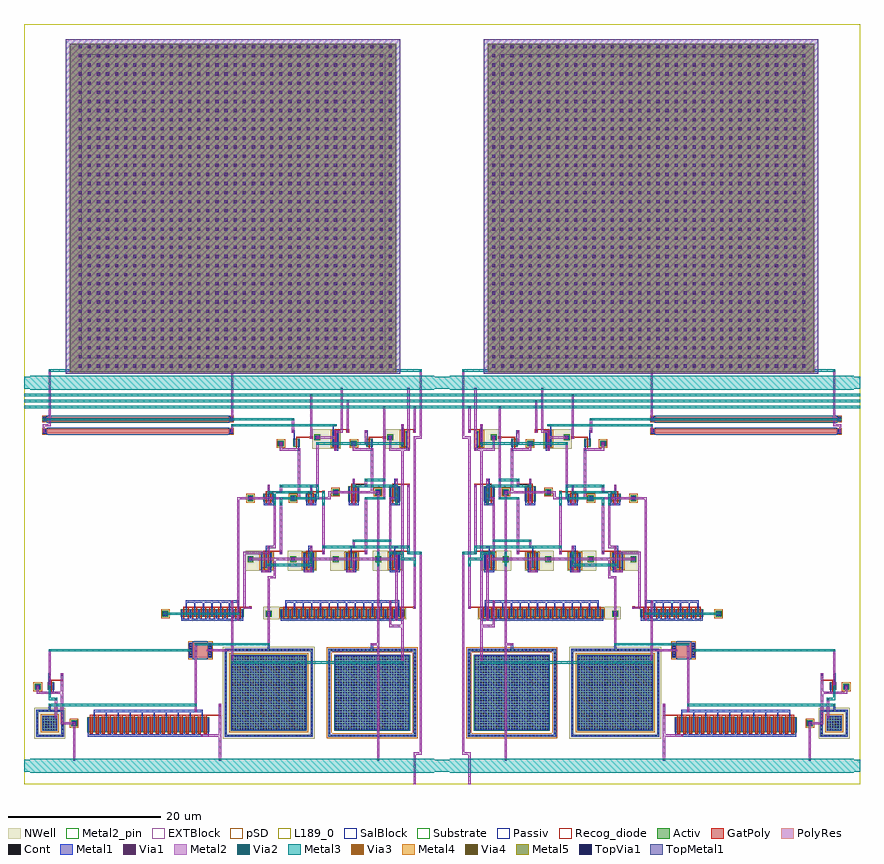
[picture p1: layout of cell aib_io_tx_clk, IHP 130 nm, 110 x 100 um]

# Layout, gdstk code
from math import pi, radians
import gdstk
lib = gdstk.Library(unit=1e-6, precision=1e-09)
def R(c, l, rs):  # rectangles x0, y0, x1, y1
    for r in rs: c.add(gdstk.rectangle(r[:2], r[2:], *l))
def A(c, l, x, y, w, h, nx, ny, dx, dy):  # array of equal rectangles
    R(c, l, [(x+i*dx, y+j*dy, x+i*dx+w, y+j*dy+h) for i in range(nx) for j in range(ny)])
Activ = (1, 0)
GatPoly = (5, 0)
Cont = (6, 0)
Metal1 = (8, 0)
Passiv = (9, 0)
Metal2 = (10, 0)
Metal2_pin = (10, 2)
pSD = (14, 0)
Via1 = (19, 0)
SalBlock = (28, 0)
Via2 = (29, 0)
Metal3 = (30, 0)
NWell = (31, 0)
Substrate = (40, 0)
Via3 = (49, 0)
Metal4 = (50, 0)
Via4 = (66, 0)
Metal5 = (67, 0)
Recog_diode = (99, 31)
EXTBlock = (111, 0)
TopVia1 = (125, 0)
TopMetal1 = (126, 0)
PolyRes = (128, 0)
L189_0 = (189, 0)

aib_io_tx = lib.new_cell('aib_io_tx')
A(aib_io_tx, Activ, 11.21, 28.4, 1.44, 2, 3, 1, 5.6, 0)
A(aib_io_tx, Activ, 8.01, 29.21, 0.78, 0.78, 4, 1, 5.6, 0)
R(aib_io_tx, Activ, [(3.4,6.2,15,6.5), (17,6.2,28.6,6.5), (49.8,6.2,53.4,6.5), (3.4,6.5,3.7,17.5), (14.7,6.5,15,17.5), (17,6.5,17.3,17.5), (28.3,6.5,28.6,17.5), (49.8,6.5,50.1,9.5), (53.1,6.5,53.4,9.5), (30.6,6.8,46.7,8.8), (4.2,7,14.2,17), (17.8,7,27.8,17), (50.6,7,52.6,9), (48.01,7.61,48.79,8.39), (49.8,9.5,53.4,9.8), (51,12.4,51.87,13.4), (52.81,12.41,53.59,13.19), (3.4,17.5,15,17.8), (17,17.5,28.6,17.8), (5,22,21.26,23), (26.11,22,34.39,23), (22.41,22.01,23.19,22.79), (36.01,22.01,36.79,22.79), (5.5,28.4,6.94,30.4), (5.5,37.2,6.94,39.2), (10.9,37.2,12.34,39.2), (16.5,37.2,17.94,38.2), (22.1,37.2,23.54,38.2), (19.21,37.21,19.99,37.99), (24.81,37.21,25.59,37.99), (8.01,38.01,8.79,38.79), (13.61,38.01,14.39,38.79), (4.5,44.4,5.37,46.4), (9.11,44.4,9.98,45.4), (13.6,44.4,14.47,46.4), (18.71,44.4,19.58,45.4), (11.21,44.41,11.99,45.19), (20.81,44.41,21.59,45.19), (6.41,45.21,7.19,45.99), (16.01,45.21,16.79,45.99)])
A(aib_io_tx, GatPoly, 30.97, 6.62, 0.35, 2.49, 20, 1, 0.79, 0)
A(aib_io_tx, GatPoly, 5.37, 21.82, 0.13, 1.49, 28, 1, 0.57, 0)
A(aib_io_tx, GatPoly, 26.48, 21.82, 0.13, 1.49, 14, 1, 0.57, 0)
A(aib_io_tx, GatPoly, 4.23, 30.23, 0.34, 0.34, 4, 1, 5.6, 0)
A(aib_io_tx, GatPoly, 4.23, 30.4, 0.34, 0.245, 4, 1, 5.6, 0)
A(aib_io_tx, GatPoly, 9.935, 30.58, 1.646, 0.13, 3, 1, 5.6, 0)
A(aib_io_tx, GatPoly, 11.58, 30.58, 0.7, 0.13, 3, 1, 5.6, 0)
R(aib_io_tx, GatPoly, [(29.135,8.98,30.971,9.11), (30.97,8.98,46.33,9.11), (29.03,9.045,29.37,10.4), (29.03,10.23,29.37,10.57), (51.37,12.22,51.5,13.71), (49.935,13.58,51.371,13.71), (51.37,13.58,51.5,13.71), (49.83,13.645,50.17,14.4), (49.83,14.23,50.17,14.57), (30.37,16.6,33.23,18.6), (3.43,23.03,3.77,23.37), (25.03,23.03,25.37,23.37), (3.535,23.18,5.371,23.31), (5.37,23.18,20.89,23.31), (25.135,23.18,26.481,23.31), (26.48,23.18,34.02,23.31), (3.43,23.2,3.77,23.245), (25.03,23.2,25.37,23.245), (5.87,28.22,6,30.71), (6.44,28.22,6.57,30.71), (11.58,28.22,11.71,30.71), (12.15,28.22,12.28,30.71), (17.18,28.22,17.31,30.71), (17.75,28.22,17.88,30.71), (22.78,28.22,22.91,30.71), (23.35,28.22,23.48,30.71), (4.335,30.58,5.871,30.71), (5.87,30.58,6.57,30.71), (5.87,37.02,6,39.51), (6.44,37.02,6.57,39.51), (11.27,37.02,11.4,39.51), (11.84,37.02,11.97,39.51), (16.87,37.02,17,38.51), (17.44,37.02,17.57,38.51), (22.47,37.02,22.6,38.51), (23.04,37.02,23.17,38.51), (15.43,38.23,15.77,38.57), (21.03,38.23,21.37,38.57), (15.535,38.38,16.871,38.51), (16.87,38.38,17.57,38.51), (21.135,38.38,22.471,38.51), (22.47,38.38,23.17,38.51), (15.43,38.4,15.77,38.445), (21.03,38.4,21.37,38.445), (4.23,39.03,4.57,39.37), (9.83,39.03,10.17,39.37), (4.23,39.2,4.57,39.445), (9.83,39.2,10.17,39.445), (4.335,39.38,5.871,39.51), (5.87,39.38,6.57,39.51), (9.935,39.38,11.271,39.51), (11.27,39.38,11.97,39.51), (4.87,44.22,5,46.71), (9.48,44.22,9.61,45.71), (13.97,44.22,14.1,46.71), (19.08,44.22,19.21,45.71), (7.43,45.43,7.77,45.77), (17.03,45.43,17.37,45.77), (7.535,45.58,9.481,45.71), (9.48,45.58,9.61,45.71), (17.135,45.58,19.081,45.71), (19.08,45.58,19.21,45.71), (7.43,45.6,7.77,45.645), (17.03,45.6,17.37,45.645), (27.57,46.15,52.43,46.65), (3.43,46.23,3.77,46.57), (12.23,46.23,12.57,46.57), (3.43,46.4,3.77,46.645), (12.23,46.4,12.57,46.645), (3.535,46.58,4.871,46.71), (4.87,46.58,5,46.71), (12.335,46.58,13.971,46.71), (13.97,46.58,14.1,46.71), (27.57,47.75,52.43,48.25)])
A(aib_io_tx, Cont, 3.47, 6.27, 0.16, 0.16, 23, 2, 0.5, 11.3)
A(aib_io_tx, Cont, 17.07, 6.27, 0.16, 0.16, 23, 2, 0.5, 11.3)
A(aib_io_tx, Cont, 49.87, 6.27, 0.16, 0.16, 7, 2, 0.5, 3.3)
A(aib_io_tx, Cont, 3.47, 6.61, 0.16, 0.16, 1, 22, 0, 0.5)
A(aib_io_tx, Cont, 14.77, 6.61, 0.16, 0.16, 1, 22, 0, 0.5)
A(aib_io_tx, Cont, 17.07, 6.61, 0.16, 0.16, 1, 22, 0, 0.5)
A(aib_io_tx, Cont, 28.37, 6.61, 0.16, 0.16, 1, 22, 0, 0.5)
A(aib_io_tx, Cont, 49.87, 6.61, 0.16, 0.16, 1, 6, 0, 0.5)
A(aib_io_tx, Cont, 53.17, 6.61, 0.16, 0.16, 1, 6, 0, 0.5)
A(aib_io_tx, Cont, 30.67, 6.87, 0.16, 0.16, 21, 6, 0.79, 0.34)
A(aib_io_tx, Cont, 50.67, 7.07, 0.16, 0.16, 6, 6, 0.34, 0.34)
A(aib_io_tx, Cont, 4.36, 7.16, 0.16, 0.16, 29, 29, 0.34, 0.34)
A(aib_io_tx, Cont, 17.96, 7.16, 0.16, 0.16, 29, 29, 0.34, 0.34)
A(aib_io_tx, Cont, 51.07, 12.48, 0.16, 0.16, 1, 3, 0, 0.34)
A(aib_io_tx, Cont, 51.64, 12.48, 0.16, 0.16, 1, 3, 0, 0.34)
A(aib_io_tx, Cont, 30.44, 16.67, 0.16, 0.16, 1, 6, 0, 0.34)
A(aib_io_tx, Cont, 33, 16.67, 0.16, 0.16, 1, 6, 0, 0.34)
A(aib_io_tx, Cont, 5.07, 22.08, 0.16, 0.16, 29, 3, 0.57, 0.34)
A(aib_io_tx, Cont, 26.18, 22.08, 0.16, 0.16, 15, 3, 0.57, 0.34)
A(aib_io_tx, Cont, 5.57, 28.47, 0.16, 0.16, 3, 6, 0.57, 0.34)
A(aib_io_tx, Cont, 11.28, 28.47, 0.16, 0.16, 3, 6, 0.57, 0.34)
A(aib_io_tx, Cont, 16.88, 28.47, 0.16, 0.16, 3, 6, 0.57, 0.34)
A(aib_io_tx, Cont, 22.48, 28.47, 0.16, 0.16, 3, 6, 0.57, 0.34)
A(aib_io_tx, Cont, 4.32, 30.32, 0.16, 0.16, 4, 1, 5.6, 0)
A(aib_io_tx, Cont, 5.57, 37.27, 0.16, 0.16, 3, 6, 0.57, 0.34)
A(aib_io_tx, Cont, 10.97, 37.27, 0.16, 0.16, 3, 6, 0.57, 0.34)
A(aib_io_tx, Cont, 16.57, 37.28, 0.16, 0.16, 3, 3, 0.57, 0.34)
A(aib_io_tx, Cont, 22.17, 37.28, 0.16, 0.16, 3, 3, 0.57, 0.34)
A(aib_io_tx, Cont, 4.57, 44.47, 0.16, 0.16, 1, 6, 0, 0.34)
A(aib_io_tx, Cont, 5.14, 44.47, 0.16, 0.16, 1, 6, 0, 0.34)
A(aib_io_tx, Cont, 13.67, 44.47, 0.16, 0.16, 1, 6, 0, 0.34)
A(aib_io_tx, Cont, 14.24, 44.47, 0.16, 0.16, 1, 6, 0, 0.34)
A(aib_io_tx, Cont, 9.18, 44.48, 0.16, 0.16, 1, 3, 0, 0.34)
A(aib_io_tx, Cont, 9.75, 44.48, 0.16, 0.16, 1, 3, 0, 0.34)
A(aib_io_tx, Cont, 18.78, 44.48, 0.16, 0.16, 1, 3, 0, 0.34)
A(aib_io_tx, Cont, 19.35, 44.48, 0.16, 0.16, 1, 3, 0, 0.34)
R(aib_io_tx, Cont, [(48.15,7.75,48.31,7.91), (48.49,7.75,48.65,7.91), (48.15,8.09,48.31,8.25), (48.49,8.09,48.65,8.25), (29.12,10.32,29.28,10.48), (52.95,12.55,53.11,12.71), (53.29,12.55,53.45,12.71), (52.95,12.89,53.11,13.05), (53.29,12.89,53.45,13.05), (49.92,14.32,50.08,14.48), (22.55,22.15,22.71,22.31), (22.89,22.15,23.05,22.31), (36.15,22.15,36.31,22.31), (36.49,22.15,36.65,22.31), (22.55,22.49,22.71,22.65), (22.89,22.49,23.05,22.65), (36.15,22.49,36.31,22.65), (36.49,22.49,36.65,22.65), (3.52,23.12,3.68,23.28), (25.12,23.12,25.28,23.28), (8.15,29.35,8.31,29.51), (8.49,29.35,8.65,29.51), (13.75,29.35,13.91,29.51), (14.09,29.35,14.25,29.51), (19.35,29.35,19.51,29.51), (19.69,29.35,19.85,29.51), (24.95,29.35,25.11,29.51), (25.29,29.35,25.45,29.51), (8.15,29.69,8.31,29.85), (8.49,29.69,8.65,29.85), (13.75,29.69,13.91,29.85), (14.09,29.69,14.25,29.85), (19.35,29.69,19.51,29.85), (19.69,29.69,19.85,29.85), (24.95,29.69,25.11,29.85), (25.29,29.69,25.45,29.85), (19.35,37.35,19.51,37.51), (19.69,37.35,19.85,37.51), (24.95,37.35,25.11,37.51), (25.29,37.35,25.45,37.51), (19.35,37.69,19.51,37.85), (19.69,37.69,19.85,37.85), (24.95,37.69,25.11,37.85), (25.29,37.69,25.45,37.85), (8.15,38.15,8.31,38.31), (8.49,38.15,8.65,38.31), (13.75,38.15,13.91,38.31), (14.09,38.15,14.25,38.31), (15.52,38.32,15.68,38.48), (21.12,38.32,21.28,38.48), (8.15,38.49,8.31,38.65), (8.49,38.49,8.65,38.65), (13.75,38.49,13.91,38.65), (14.09,38.49,14.25,38.65), (4.32,39.12,4.48,39.28), (9.92,39.12,10.08,39.28), (11.35,44.55,11.51,44.71), (11.69,44.55,11.85,44.71), (20.95,44.55,21.11,44.71), (21.29,44.55,21.45,44.71), (11.35,44.89,11.51,45.05), (11.69,44.89,11.85,45.05), (20.95,44.89,21.11,45.05), (21.29,44.89,21.45,45.05), (6.55,45.35,6.71,45.51), (6.89,45.35,7.05,45.51), (16.15,45.35,16.31,45.51), (16.49,45.35,16.65,45.51), (7.52,45.52,7.68,45.68), (17.12,45.52,17.28,45.68), (6.55,45.69,6.71,45.85), (6.89,45.69,7.05,45.85), (16.15,45.69,16.31,45.85), (16.49,45.69,16.65,45.85), (3.52,46.32,3.68,46.48), (12.32,46.32,12.48,46.48), (27.64,46.32,27.8,46.48), (52.2,46.32,52.36,46.48), (27.64,47.92,27.8,48.08), (52.2,47.92,52.36,48.08)])
A(aib_io_tx, Metal1, 30.67, 6.25, 0.16, 2.48, 11, 1, 1.58, 0)
A(aib_io_tx, Metal1, 31.46, 6.87, 0.16, 2.88, 10, 1, 1.58, 0)
A(aib_io_tx, Metal1, 5.07, 21.45, 0.16, 1.47, 15, 1, 1.14, 0)
A(aib_io_tx, Metal1, 26.18, 21.45, 0.16, 1.47, 8, 1, 1.14, 0)
A(aib_io_tx, Metal1, 5.64, 22.08, 0.16, 2.07, 14, 1, 1.14, 0)
A(aib_io_tx, Metal1, 26.75, 22.08, 0.16, 2.07, 7, 1, 1.14, 0)
A(aib_io_tx, Metal1, 11.28, 27.85, 1.3, 0.3, 3, 1, 5.6, 0)
A(aib_io_tx, Metal1, 11.85, 28.47, 0.16, 2.88, 3, 1, 5.6, 0)
A(aib_io_tx, Metal1, 8.15, 29.35, 0.5, 0.5, 4, 1, 5.6, 0)
A(aib_io_tx, Metal1, 4.25, 30.25, 0.3, 0.3, 4, 1, 5.6, 0)
A(aib_io_tx, Metal1, 11.45, 31.05, 0.56, 0.3, 3, 1, 5.6, 0)
A(aib_io_tx, Metal1, 10.97, 36.65, 1.3, 0.3, 3, 1, 5.6, 0)
R(aib_io_tx, Metal1, [(3.4,6.2,15,6.5), (17,6.2,28.6,6.5), (49.8,6.2,53.4,6.5), (30.67,6.25,46.63,6.55), (3.4,6.5,3.7,17.5), (14.7,6.5,15,17.5), (17,6.5,17.3,17.5), (28.3,6.5,28.6,17.5), (49.8,6.5,50.1,9.5), (53.1,6.5,53.4,9.5), (50.6,7,52.6,9), (4.29,7.09,14.11,16.91), (17.89,7.09,27.71,16.91), (48.15,7.75,48.65,8.25), (31.46,9.45,45.84,9.75), (49.8,9.5,53.4,9.8), (51.45,9.5,51.75,10.55), (29.05,10.25,29.35,10.55), (50.65,11.85,51.23,12.15), (51.07,11.85,51.23,13.32), (51.64,12.48,51.8,14.55), (52.95,12.55,53.45,13.05), (49.85,14.25,50.15,14.55), (51.45,14.25,51.8,14.55), (30.29,16.6,30.75,18.6), (32.85,16.6,33.31,18.6), (30.29,17.45,30.95,17.75), (32.85,17.45,33.35,17.75), (3.4,17.5,15,17.8), (9.05,17.5,9.35,18.55), (17,17.5,28.6,17.8), (22.65,17.5,22.95,18.55), (5.07,21.45,21.19,21.75), (26.18,21.45,34.32,21.75), (22.55,22.15,23.05,22.65), (36.15,22.15,36.65,22.65), (3.45,23.05,3.75,23.35), (25.05,23.05,25.35,23.35), (5.64,23.85,20.62,24.15), (26.75,23.85,33.75,24.15), (5.57,27.85,5.73,30.33), (5.57,27.85,6.87,28.15), (6.71,27.85,6.87,30.33), (11.28,27.85,11.44,30.33), (12.42,27.85,12.58,30.33), (16.88,27.85,17.04,30.33), (18.02,27.85,18.18,30.33), (22.48,27.85,22.64,30.33), (23.62,27.85,23.78,30.33), (6.14,28.47,6.3,31.35), (5.85,31.05,6.3,31.35), (5.57,36.65,5.73,39.13), (5.57,36.65,6.87,36.95), (6.71,36.65,6.87,39.13), (10.97,36.65,11.13,39.13), (12.11,36.65,12.27,39.13), (16.57,36.65,16.73,38.12), (17.71,36.65,17.87,38.12), (22.17,36.65,22.33,38.12), (23.31,36.65,23.47,38.12), (6.14,37.27,6.3,40.15), (11.54,37.27,11.7,40.15), (17.14,37.28,17.3,39.35), (22.74,37.28,22.9,39.35), (19.35,37.35,19.85,37.85), (24.95,37.35,25.45,37.85), (8.15,38.15,8.65,38.65), (13.75,38.15,14.25,38.65), (15.45,38.25,15.75,38.55), (21.05,38.25,21.35,38.55), (4.25,39.05,4.55,39.35), (9.85,39.05,10.15,39.35), (17.05,39.05,17.35,39.35), (22.65,39.05,22.95,39.35), (5.85,39.85,6.3,40.15), (11.45,39.85,11.75,40.15), (4.25,43.85,4.73,44.15), (4.57,43.85,4.73,46.33), (9.05,43.85,9.35,44.15), (9.18,43.85,9.34,45.32), (13.67,43.85,13.83,46.33), (13.67,43.85,14.15,44.15), (18.65,43.85,18.95,44.15), (18.78,43.85,18.94,45.32), (5.14,44.47,5.3,47.35), (14.24,44.47,14.4,47.35), (9.75,44.48,9.91,46.55), (19.35,44.48,19.51,46.55), (11.35,44.55,11.85,45.05), (20.95,44.55,21.45,45.05), (6.55,45.35,7.05,45.85), (16.15,45.35,16.65,45.85), (7.45,45.45,7.75,45.75), (17.05,45.45,17.35,45.75), (27.49,46.1,27.95,46.7), (52.05,46.1,52.51,46.7), (3.45,46.25,3.75,46.55), (9.75,46.25,10.15,46.55), (12.25,46.25,12.55,46.55), (19.35,46.25,19.75,46.55), (27.45,46.25,27.95,46.55), (52.05,46.25,52.55,46.55), (5.05,47.05,5.35,47.35), (13.85,47.05,14.4,47.35), (27.49,47.7,27.95,48.3), (52.05,47.7,52.51,48.3), (27.45,47.85,27.95,48.15), (52.05,47.85,52.55,48.15)])
R(aib_io_tx, Passiv, [(7.5,56,47.5,96)])
A(aib_io_tx, Metal2, 3.45, 1.45, 0.3, 1.1, 1, 3, 0, 0.8)
A(aib_io_tx, Metal2, 8.25, 3.05, 0.3, 1.1, 1, 6, 0, 0.8)
A(aib_io_tx, Metal2, 29.05, 3.05, 0.3, 1.1, 1, 6, 0, 0.8)
A(aib_io_tx, Metal2, 48.25, 3.05, 0.3, 1.1, 1, 6, 0, 0.8)
A(aib_io_tx, Metal2, 2.65, 3.85, 0.3, 1.1, 1, 33, 0, 0.8)
A(aib_io_tx, Metal2, 29.05, 6.25, 1.1, 0.3, 3, 1, 0.8, 0)
A(aib_io_tx, Metal2, 8.25, 7.85, 0.3, 1.1, 3, 2, 20.8, 0.8)
A(aib_io_tx, Metal2, 50.65, 8.65, 0.3, 1.1, 1, 3, 0, 0.8)
A(aib_io_tx, Metal2, 8.25, 9.45, 0.3, 1.1, 1, 14, 0, 0.8)
A(aib_io_tx, Metal2, 32.25, 9.45, 0.3, 1.1, 1, 11, 0, 0.8)
A(aib_io_tx, Metal2, 49.85, 9.45, 0.3, 1.1, 1, 6, 0, 0.8)
A(aib_io_tx, Metal2, 49.85, 11.85, 1.1, 0.3, 4, 1, 0.8, 0)
A(aib_io_tx, Metal2, 51.45, 12.65, 0.3, 1.1, 1, 6, 0, 0.8)
A(aib_io_tx, Metal2, 5.05, 15.85, 0.3, 1.1, 1, 6, 0, 0.8)
A(aib_io_tx, Metal2, 27.45, 15.85, 0.3, 1.1, 1, 9, 0, 0.8)
A(aib_io_tx, Metal2, 27.45, 17.45, 1.1, 0.3, 4, 1, 0.8, 0)
A(aib_io_tx, Metal2, 22.65, 18.25, 0.3, 1.1, 1, 11, 0, 0.8)
A(aib_io_tx, Metal2, 5.05, 20.65, 0.3, 1.1, 3, 1, 1.6, 0)
A(aib_io_tx, Metal2, 5.05, 21.45, 0.3, 1.1, 3, 3, 0.8, 0.8)
A(aib_io_tx, Metal2, 8.25, 21.45, 0.3, 1.1, 1, 9, 0, 0.8)
A(aib_io_tx, Metal2, 3.45, 23.05, 0.3, 1.1, 1, 7, 0, 0.8)
A(aib_io_tx, Metal2, 25.85, 23.05, 0.3, 1.1, 3, 1, 0.8, 0)
A(aib_io_tx, Metal2, 5.05, 23.85, 0.3, 1.1, 1, 7, 0, 0.8)
A(aib_io_tx, Metal2, 5.85, 23.85, 0.3, 1.1, 1, 6, 0, 0.8)
A(aib_io_tx, Metal2, 25.85, 23.85, 0.3, 1.1, 1, 8, 0, 0.8)
A(aib_io_tx, Metal2, 26.65, 23.85, 0.3, 1.1, 1, 17, 0, 0.8)
A(aib_io_tx, Metal2, 21.85, 27.05, 0.3, 1.1, 1, 3, 0, 0.8)
A(aib_io_tx, Metal2, 5.85, 27.85, 0.3, 0.3, 4, 1, 5.6, 0)
A(aib_io_tx, Metal2, 11.45, 27.85, 1.1, 0.3, 3, 1, 5.6, 0)
A(aib_io_tx, Metal2, 5.85, 28.65, 0.3, 1.1, 3, 1, 5.6, 0)
A(aib_io_tx, Metal2, 5.85, 29.45, 1.1, 0.3, 24, 1, 0.8, 0)
A(aib_io_tx, Metal2, 8.25, 29.45, 0.3, 0.3, 4, 1, 5.6, 0)
A(aib_io_tx, Metal2, 3.45, 30.25, 0.3, 1.1, 3, 9, 0.8, 0.8)
A(aib_io_tx, Metal2, 6.65, 30.25, 0.3, 1.1, 3, 2, 1.6, 1.6)
A(aib_io_tx, Metal2, 6.65, 30.25, 0.3, 0.3, 3, 1, 1.6, 0)
A(aib_io_tx, Metal2, 15.45, 30.25, 0.3, 1.1, 1, 8, 0, 0.8)
A(aib_io_tx, Metal2, 21.05, 30.25, 0.3, 1.1, 1, 8, 0, 0.8)
A(aib_io_tx, Metal2, 22.65, 30.25, 1.1, 0.3, 4, 1, 0.8, 0)
A(aib_io_tx, Metal2, 6.65, 31.05, 0.3, 1.1, 4, 2, 1.6, 5.6)
A(aib_io_tx, Metal2, 21.85, 31.05, 0.3, 1.1, 1, 7, 0, 0.8)
A(aib_io_tx, Metal2, 6.65, 32.65, 0.3, 1.1, 3, 5, 1.6, 0.8)
A(aib_io_tx, Metal2, 21.05, 36.65, 0.3, 0.3, 3, 1, 0.8, 0)
A(aib_io_tx, Metal2, 3.45, 37.45, 0.3, 1.1, 4, 2, 0.8, 0.8)
A(aib_io_tx, Metal2, 8.25, 37.45, 0.3, 1.1, 3, 1, 3.2, 0)
A(aib_io_tx, Metal2, 14.65, 37.45, 1.1, 0.3, 15, 1, 0.8, 0)
A(aib_io_tx, Metal2, 18.65, 37.45, 0.3, 1.1, 1, 8, 0, 0.8)
A(aib_io_tx, Metal2, 8.25, 38.25, 1.1, 0.3, 8, 1, 0.8, 0)
A(aib_io_tx, Metal2, 15.45, 38.25, 0.3, 0.3, 3, 1, 0.8, 0)
A(aib_io_tx, Metal2, 16.25, 38.25, 0.3, 1.1, 1, 7, 0, 0.8)
A(aib_io_tx, Metal2, 3.45, 39.05, 0.3, 1.1, 1, 7, 0, 0.8)
A(aib_io_tx, Metal2, 5.05, 39.05, 0.3, 1.1, 1, 6, 0, 0.8)
A(aib_io_tx, Metal2, 5.85, 39.05, 0.3, 1.1, 3, 1, 1.6, 0)
A(aib_io_tx, Metal2, 7.45, 39.85, 0.3, 1.1, 1, 7, 0, 0.8)
A(aib_io_tx, Metal2, 9.05, 39.85, 0.3, 1.1, 1, 5, 0, 0.8)
A(aib_io_tx, Metal2, 4.25, 43.85, 1.1, 0.3, 3, 1, 0.8, 0)
A(aib_io_tx, Metal2, 4.25, 43.85, 0.3, 0.3, 4, 1, 4.8, 0)
A(aib_io_tx, Metal2, 9.05, 43.85, 1.1, 0.3, 3, 1, 0.8, 0)
A(aib_io_tx, Metal2, 11.45, 43.85, 0.3, 1.1, 3, 1, 2.4, 0)
A(aib_io_tx, Metal2, 18.65, 43.85, 1.1, 0.3, 3, 1, 0.8, 0)
A(aib_io_tx, Metal2, 3.45, 44.65, 0.3, 1.1, 3, 1, 0.8, 0)
A(aib_io_tx, Metal2, 11.45, 44.65, 0.3, 0.3, 3, 1, 4.8, 0)
A(aib_io_tx, Metal2, 5.05, 45.45, 0.3, 1.1, 3, 1, 2.4, 0)
A(aib_io_tx, Metal2, 13.85, 45.45, 1.1, 0.3, 3, 1, 0.8, 0)
A(aib_io_tx, Metal2, 17.05, 45.45, 0.3, 1.1, 1, 7, 0, 0.8)
A(aib_io_tx, Metal2, 2.65, 46.25, 0.3, 1.1, 4, 1, 0.8, 0)
A(aib_io_tx, Metal2, 7.45, 46.25, 0.3, 1.1, 1, 4, 0, 0.8)
A(aib_io_tx, Metal2, 12.25, 46.25, 0.3, 1.1, 1, 5, 0, 0.8)
A(aib_io_tx, Metal2, 13.05, 46.25, 0.3, 1.1, 1, 7, 0, 0.8)
A(aib_io_tx, Metal2, 27.45, 46.25, 0.3, 0.3, 1, 3, 0, 0.8)
A(aib_io_tx, Metal2, 2.65, 47.05, 0.3, 1.1, 3, 3, 0.8, 0.8)
A(aib_io_tx, Metal2, 51.45, 47.05, 0.3, 1.1, 1, 9, 0, 0.8)
A(aib_io_tx, Metal2, 27.45, 47.85, 0.3, 1.1, 1, 8, 0, 0.8)
A(aib_io_tx, Metal2, 2.65, 49.45, 0.3, 1.1, 1, 6, 0, 0.8)
A(aib_io_tx, Metal2, 4.25, 49.45, 0.3, 1.1, 1, 3, 0, 0.8)
R(aib_io_tx, Metal2, [(3.45,0,3.75,4.15), (8.25,3.05,8.55,3.35), (29.05,3.05,29.35,3.35), (48.25,3.05,48.55,3.35), (2.65,3.85,3.75,4.15), (31.45,6.25,31.75,6.55), (48.25,7.85,49.35,8.15), (48.25,7.85,48.55,8.15), (49.05,7.85,50.15,8.15), (50.65,8.65,50.95,8.95), (29.05,9.45,29.35,10.55), (32.25,9.45,32.55,9.75), (29.05,10.25,29.35,10.55), (32.25,10.25,32.55,10.55), (51.45,10.25,51.75,10.55), (51.45,10.25,51.75,10.55), (50.65,11.05,50.95,11.35), (50.65,11.85,50.95,12.15), (53.05,11.85,53.35,12.95), (51.45,12.65,51.75,12.95), (53.05,12.65,53.35,12.95), (49.85,14.25,50.15,14.55), (51.45,14.25,51.75,14.55), (5.05,15.85,5.35,16.15), (5.05,15.85,5.35,16.15), (18.65,15.85,18.95,16.15), (18.65,15.85,18.95,16.15), (27.45,15.85,27.75,16.15), (30.65,17.45,30.95,17.75), (33.05,17.45,33.35,17.75), (33.05,17.45,33.35,17.75), (51.45,17.45,51.75,17.75), (8.25,18.25,9.35,18.55), (9.05,18.25,9.35,18.55), (22.65,18.25,22.95,18.55), (22.65,18.25,22.95,18.55), (32.25,18.25,32.55,18.55), (5.05,20.65,6.15,20.95), (5.85,20.65,6.95,20.95), (5.85,21.45,6.15,21.75), (26.65,21.45,26.95,22.55), (26.65,21.45,26.95,21.75), (22.65,22.25,22.95,22.55), (26.65,22.25,26.95,23.35), (26.65,22.25,26.95,22.55), (36.25,22.25,36.55,22.55), (36.25,22.25,36.55,22.55), (3.45,23.05,3.75,23.35), (25.05,23.05,26.15,23.35), (25.05,23.05,25.35,23.35), (6.65,23.85,6.95,24.15), (27.45,23.85,27.75,24.15), (21.85,27.05,22.95,27.35), (11.45,27.85,11.75,28.95), (17.05,27.85,17.35,28.95), (22.65,27.85,22.95,28.95), (3.45,28.65,3.75,28.95), (8.25,28.65,8.55,28.95), (22.65,28.65,22.95,28.95), (3.45,29.45,3.75,30.55), (3.45,29.45,4.55,29.75), (4.25,29.45,5.35,29.75), (5.85,29.45,6.15,30.55), (2.65,30.25,2.95,30.55), (4.25,30.25,4.55,30.55), (4.25,30.25,4.55,30.55), (5.05,30.25,6.15,30.55), (15.45,30.25,15.75,30.55), (17.05,30.25,17.35,31.35), (17.05,30.25,17.35,30.55), (21.05,30.25,21.35,30.55), (22.65,30.25,22.95,31.35), (4.25,31.05,4.55,31.35), (5.85,31.05,6.95,31.35), (5.85,31.05,6.15,31.35), (11.45,31.05,11.75,31.35), (15.45,31.05,15.75,31.35), (17.05,31.05,17.35,31.35), (21.85,31.05,22.95,31.35), (22.65,31.05,22.95,31.35), (6.65,31.85,6.95,32.15), (11.45,31.85,11.75,32.15), (5.85,36.65,6.15,36.95), (5.85,36.65,6.15,36.95), (11.45,36.65,11.75,36.95), (15.45,36.65,15.75,36.95), (17.05,36.65,17.35,37.75), (17.05,36.65,17.35,36.95), (22.65,36.65,22.95,37.75), (5.85,37.45,6.95,37.75), (7.45,37.45,7.75,38.55), (7.45,37.45,7.75,37.75), (9.85,37.45,10.15,37.75), (19.45,37.45,19.75,37.75), (25.05,37.45,25.35,37.75), (7.45,38.25,7.75,39.35), (8.25,38.25,8.55,38.55), (9.05,38.25,9.35,39.35), (13.85,38.25,14.15,38.55), (15.45,38.25,15.75,38.55), (17.05,38.25,17.35,39.35), (21.05,38.25,21.35,39.35), (21.05,38.25,21.35,38.55), (22.65,38.25,22.95,39.35), (22.65,38.25,22.95,38.55), (4.25,39.05,4.55,39.35), (9.85,39.05,10.15,40.15), (9.85,39.05,10.15,39.35), (11.45,39.05,11.75,40.15), (11.45,39.05,11.75,39.35), (16.25,39.05,16.55,39.35), (17.05,39.05,17.35,39.35), (21.05,39.05,21.35,39.35), (22.65,39.05,22.95,39.35), (5.85,39.85,6.15,40.15), (7.45,39.85,7.75,40.15), (9.85,39.85,10.15,40.15), (11.45,39.85,11.75,40.15), (4.25,43.85,4.55,44.95), (6.65,43.85,6.95,44.95), (21.05,43.85,21.35,44.95), (5.05,44.65,5.35,44.95), (6.65,44.65,6.95,45.75), (9.85,44.65,10.15,45.75), (9.85,44.65,10.15,44.95), (13.85,44.65,14.15,45.75), (2.65,45.45,2.95,46.55), (2.65,45.45,3.75,45.75), (4.25,45.45,4.55,46.55), (6.65,45.45,6.95,45.75), (7.45,45.45,7.75,45.75), (13.85,45.45,14.15,46.55), (16.25,45.45,16.55,45.75), (17.05,45.45,17.35,45.75), (3.45,46.25,3.75,46.55), (9.85,46.25,10.15,46.55), (12.25,46.25,12.55,46.55), (13.05,46.25,14.15,46.55), (19.45,46.25,19.75,47.35), (19.45,46.25,19.75,46.55), (27.45,46.25,27.75,47.35), (52.25,46.25,52.55,47.35), (52.25,46.25,52.55,46.55), (5.05,47.05,5.35,47.35), (13.85,47.05,14.15,47.35), (13.85,47.05,14.15,47.35), (19.45,47.05,19.75,48.15), (51.45,47.05,52.55,47.35), (19.45,47.85,19.75,48.15), (52.25,47.85,52.55,48.15), (52.25,47.85,52.55,48.15), (3.45,49.45,3.75,49.75), (7.45,49.45,7.75,49.75), (12.25,50.25,12.55,50.55), (17.05,51.05,17.35,51.35), (4.25,51.85,4.55,52.15), (13.05,51.85,13.35,52.15), (2.65,54.25,2.95,54.55), (27.45,54.25,27.75,54.55), (51.45,54.25,51.75,54.55)])
R(aib_io_tx, Metal2_pin, [(3.45,0,3.75,1)])
A(aib_io_tx, pSD, 11.03, 28.22, 1.8, 2.36, 3, 1, 5.6, 0)
R(aib_io_tx, pSD, [(3.22,6.02,15.18,6.68), (3.22,6.5,3.88,17.5), (14.52,6.5,15.18,17.5), (17.62,6.82,27.98,17.18), (50.42,6.82,52.78,9.18), (47.83,7.43,48.97,8.57), (52.63,12.23,53.77,13.37), (30.19,16.42,33.41,18.78), (3.22,17.32,15.18,17.98), (4.82,21.82,21.44,23.18), (35.83,21.83,36.97,22.97), (5.32,28.22,7.12,30.58), (19.03,37.03,20.17,38.17), (24.63,37.03,25.77,38.17), (7.83,37.83,8.97,38.97), (13.43,37.83,14.57,38.97), (4.32,44.22,5.55,46.58), (13.42,44.22,14.65,46.58), (11.03,44.23,12.17,45.37), (20.63,44.23,21.77,45.37), (27.39,45.97,52.61,46.83), (27.39,47.57,52.61,48.43)])
A(aib_io_tx, Via1, 5.905, 27.905, 0.19, 0.19, 4, 2, 5.6, 3.2)
A(aib_io_tx, Via1, 8.305, 29.505, 0.19, 0.19, 4, 1, 5.6, 0)
A(aib_io_tx, Via1, 4.305, 30.305, 0.19, 0.19, 4, 1, 5.6, 0)
A(aib_io_tx, Via1, 5.905, 36.705, 0.19, 0.19, 4, 1, 5.6, 0)
A(aib_io_tx, Via1, 4.305, 43.905, 0.19, 0.19, 4, 1, 4.8, 0)
R(aib_io_tx, Via1, [(31.505,6.305,31.695,6.495), (48.305,7.905,48.495,8.095), (50.705,8.705,50.895,8.895), (32.305,9.505,32.495,9.695), (29.105,10.305,29.295,10.495), (51.505,10.305,51.695,10.495), (50.705,11.905,50.895,12.095), (53.105,12.705,53.295,12.895), (49.905,14.305,50.095,14.495), (51.505,14.305,51.695,14.495), (5.105,15.905,5.295,16.095), (18.705,15.905,18.895,16.095), (30.705,17.505,30.895,17.695), (33.105,17.505,33.295,17.695), (9.105,18.305,9.295,18.495), (22.705,18.305,22.895,18.495), (5.905,21.505,6.095,21.695), (26.705,21.505,26.895,21.695), (22.705,22.305,22.895,22.495), (36.305,22.305,36.495,22.495), (3.505,23.105,3.695,23.295), (25.105,23.105,25.295,23.295), (6.705,23.905,6.895,24.095), (27.505,23.905,27.695,24.095), (19.505,37.505,19.695,37.695), (25.105,37.505,25.295,37.695), (8.305,38.305,8.495,38.495), (13.905,38.305,14.095,38.495), (15.505,38.305,15.695,38.495), (21.105,38.305,21.295,38.495), (4.305,39.105,4.495,39.295), (9.905,39.105,10.095,39.295), (17.105,39.105,17.295,39.295), (22.705,39.105,22.895,39.295), (5.905,39.905,6.095,40.095), (11.505,39.905,11.695,40.095), (11.505,44.705,11.695,44.895), (21.105,44.705,21.295,44.895), (6.705,45.505,6.895,45.695), (7.505,45.505,7.695,45.695), (16.305,45.505,16.495,45.695), (17.105,45.505,17.295,45.695), (3.505,46.305,3.695,46.495), (9.905,46.305,10.095,46.495), (12.305,46.305,12.495,46.495), (19.505,46.305,19.695,46.495), (27.505,46.305,27.695,46.495), (52.305,46.305,52.495,46.495), (5.105,47.105,5.295,47.295), (13.905,47.105,14.095,47.295), (27.505,47.905,27.695,48.095), (52.305,47.905,52.495,48.095)])
R(aib_io_tx, SalBlock, [(30.8,16.4,32.8,18.8), (28,45.95,52,46.85), (28,47.55,52,48.45)])
A(aib_io_tx, Via2, 15.505, 38.305, 0.19, 0.19, 3, 1, 0.8, 0)
A(aib_io_tx, Via2, 11.505, 39.105, 0.19, 0.19, 3, 1, 4.8, 0)
R(aib_io_tx, Via2, [(8.305,3.105,8.495,3.295), (29.105,3.105,29.295,3.295), (48.305,3.105,48.495,3.295), (32.305,10.305,32.495,10.495), (51.505,10.305,51.695,10.495), (50.705,11.105,50.895,11.295), (51.505,12.705,51.695,12.895), (5.105,15.905,5.295,16.095), (18.705,15.905,18.895,16.095), (27.505,15.905,27.695,16.095), (33.105,17.505,33.295,17.695), (51.505,17.505,51.695,17.695), (22.705,18.305,22.895,18.495), (32.305,18.305,32.495,18.495), (26.705,22.305,26.895,22.495), (36.305,22.305,36.495,22.495), (3.505,28.705,3.695,28.895), (8.305,28.705,8.495,28.895), (22.705,28.705,22.895,28.895), (2.705,30.305,2.895,30.495), (4.305,30.305,4.495,30.495), (6.705,30.305,6.895,30.495), (8.305,30.305,8.495,30.495), (17.105,30.305,17.295,30.495), (4.305,31.105,4.495,31.295), (15.505,31.105,15.695,31.295), (6.705,31.905,6.895,32.095), (11.505,31.905,11.695,32.095), (5.905,36.705,6.095,36.895), (15.505,36.705,15.695,36.895), (21.105,36.705,21.295,36.895), (21.905,36.705,22.095,36.895), (7.505,37.505,7.695,37.695), (9.905,37.505,10.095,37.695), (22.705,38.305,22.895,38.495), (7.505,39.905,7.695,40.095), (9.905,39.905,10.095,40.095), (5.105,44.705,5.295,44.895), (9.905,44.705,10.095,44.895), (16.305,44.705,16.495,44.895), (13.905,47.105,14.095,47.295), (27.505,47.105,27.695,47.295), (19.505,47.905,19.695,48.095), (52.305,47.905,52.495,48.095), (3.505,49.505,3.695,49.695), (7.505,49.505,7.695,49.695), (12.305,50.305,12.495,50.495), (17.105,51.105,17.295,51.295), (4.305,51.905,4.495,52.095), (13.105,51.905,13.295,52.095), (2.705,54.305,2.895,54.495), (27.505,54.305,27.695,54.495), (51.505,54.305,51.695,54.495)])
A(aib_io_tx, Metal3, 1.05, 1.45, 1.1, 0.3, 66, 3, 0.8, 0.8)
A(aib_io_tx, Metal3, 1.05, 1.45, 0.3, 1.1, 67, 2, 0.8, 0.8)
A(aib_io_tx, Metal3, 32.25, 10.25, 1.1, 0.3, 24, 1, 0.8, 0)
A(aib_io_tx, Metal3, 5.05, 15.85, 1.1, 0.3, 28, 1, 0.8, 0)
A(aib_io_tx, Metal3, 33.05, 17.45, 1.1, 0.3, 23, 1, 0.8, 0)
A(aib_io_tx, Metal3, 22.65, 18.25, 1.1, 0.3, 12, 1, 0.8, 0)
A(aib_io_tx, Metal3, 26.65, 22.25, 1.1, 0.3, 12, 1, 0.8, 0)
A(aib_io_tx, Metal3, 17.05, 28.65, 1.1, 0.3, 7, 2, 0.8, 9.6)
A(aib_io_tx, Metal3, 4.25, 31.05, 1.1, 0.3, 14, 1, 0.8, 0)
A(aib_io_tx, Metal3, 6.65, 31.85, 1.1, 0.3, 6, 1, 0.8, 0)
A(aib_io_tx, Metal3, 5.85, 36.65, 0.3, 1.1, 1, 3, 0, 0.8)
A(aib_io_tx, Metal3, 7.45, 37.45, 1.1, 0.3, 3, 2, 0.8, 2.4)
A(aib_io_tx, Metal3, 16.25, 37.45, 1.1, 0.3, 6, 2, 0.8, 1.6)
A(aib_io_tx, Metal3, 15.45, 38.25, 0.3, 0.3, 3, 1, 0.8, 0)
A(aib_io_tx, Metal3, 5.85, 39.05, 1.1, 0.3, 7, 1, 0.8, 0)
A(aib_io_tx, Metal3, 11.45, 39.05, 0.3, 0.3, 3, 1, 4.8, 0)
A(aib_io_tx, Metal3, 5.05, 44.65, 1.1, 0.3, 14, 1, 0.8, 0)
A(aib_io_tx, Metal3, 13.85, 47.05, 1.1, 0.3, 17, 1, 0.8, 0)
A(aib_io_tx, Metal3, 19.45, 47.85, 1.1, 0.3, 41, 1, 0.8, 0)
A(aib_io_tx, Metal3, 0, 49.45, 55, 0.3, 1, 3, 0, 0.8)
A(aib_io_tx, Metal3, 1.05, 49.45, 1.1, 0.3, 66, 6, 0.8, 0.8)
A(aib_io_tx, Metal3, 1.05, 51.85, 0.3, 1.1, 67, 2, 0.8, 0.8)
A(aib_io_tx, Metal3, 2.65, 54.25, 1.1, 0.3, 61, 1, 0.8, 0)
R(aib_io_tx, Metal3, [(0,1.6,55,3.2), (8.25,3.05,8.55,3.35), (29.05,3.05,29.35,3.35), (48.25,3.05,48.55,3.35), (32.25,10.25,32.55,10.55), (51.45,10.25,51.75,10.55), (50.65,11.05,51.75,11.35), (50.65,11.05,50.95,11.35), (51.45,11.05,51.75,12.15), (51.45,11.85,51.75,12.95), (51.45,12.65,51.75,12.95), (5.05,15.85,5.35,16.15), (18.65,15.85,18.95,16.15), (27.45,15.85,27.75,16.15), (33.05,17.45,33.35,17.75), (51.45,17.45,51.75,17.75), (22.65,18.25,22.95,18.55), (32.25,18.25,32.55,18.55), (26.65,22.25,26.95,22.55), (36.25,22.25,36.55,22.55), (3.45,28.65,3.75,29.75), (3.45,28.65,3.75,28.95), (8.25,28.65,8.55,29.75), (8.25,28.65,8.55,28.95), (17.05,28.65,17.35,29.75), (22.65,28.65,22.95,28.95), (3.45,29.45,4.55,29.75), (4.25,29.45,5.35,29.75), (5.05,29.45,5.35,30.55), (8.25,29.45,8.55,30.55), (17.05,29.45,17.35,30.55), (2.65,30.25,3.75,30.55), (2.65,30.25,2.95,30.55), (3.45,30.25,4.55,30.55), (4.25,30.25,4.55,31.35), (4.25,30.25,4.55,30.55), (5.05,30.25,6.15,30.55), (5.85,30.25,6.95,30.55), (6.65,30.25,6.95,30.55), (8.25,30.25,8.55,30.55), (17.05,30.25,17.35,30.55), (4.25,31.05,4.55,31.35), (15.45,31.05,15.75,31.35), (6.65,31.85,6.95,32.15), (11.45,31.85,11.75,32.15), (5.85,36.65,6.15,36.95), (15.45,36.65,15.75,37.75), (15.45,36.65,15.75,36.95), (21.05,36.65,21.35,37.75), (21.05,36.65,21.35,36.95), (21.85,36.65,22.15,37.75), (21.85,36.65,22.15,36.95), (7.45,37.45,7.75,37.75), (9.85,37.45,10.15,37.75), (15.45,37.45,15.75,38.55), (16.25,37.45,16.55,38.55), (21.85,37.45,22.15,38.55), (16.25,38.25,16.55,39.35), (22.65,38.25,22.95,38.55), (7.45,39.85,7.75,40.15), (9.85,39.85,10.15,40.15), (5.05,44.65,5.35,44.95), (9.85,44.65,10.15,44.95), (16.25,44.65,16.55,44.95), (13.85,47.05,14.15,47.35), (27.45,47.05,27.75,47.35), (19.45,47.85,19.75,48.15), (52.25,47.85,52.55,48.15), (3.45,49.45,3.75,49.75), (7.45,49.45,7.75,49.75), (12.25,50.25,12.55,50.55), (17.05,51.05,17.35,51.35), (4.25,51.85,4.55,52.15), (13.05,51.85,13.35,52.15), (0,52,55,53.6), (6,54.2,49,97.4), (2.65,54.25,2.95,54.55), (27.45,54.25,27.75,54.55), (51.45,54.25,51.75,54.55)])
A(aib_io_tx, NWell, 10.9, 28.09, 3.8, 2.62, 3, 1, 5.6, 0)
R(aib_io_tx, NWell, [(16.76,5.96,28.84,18.04), (49.56,5.96,53.64,10.04), (4.69,21.69,23.5,23.31), (5.19,28.09,9.1,30.71), (4.19,44.09,7.5,46.71), (13.29,44.09,17.1,46.71)])
R(aib_io_tx, Substrate, [(3.4,6.2,15,6.5), (3.4,6.5,3.7,17.5), (14.7,6.5,15,17.5), (48.01,7.61,48.79,8.39), (52.81,12.41,53.59,13.19), (3.4,17.5,15,17.8), (36.01,22.01,36.79,22.79), (19.21,37.21,19.99,37.99), (24.81,37.21,25.59,37.99), (8.01,38.01,8.79,38.79), (13.61,38.01,14.39,38.79), (11.21,44.41,11.99,45.19), (20.81,44.41,21.59,45.19)])
A(aib_io_tx, Via3, 6.6, 54.8, 0.19, 0.19, 35, 36, 1.2, 1.2)
R(aib_io_tx, Metal4, [(6,54.2,49,97.4)])
A(aib_io_tx, Via4, 6.6, 54.8, 0.19, 0.19, 35, 36, 1.2, 1.2)
R(aib_io_tx, Metal5, [(6,54.2,49,97.4)])
R(aib_io_tx, Recog_diode, [(4.2,7,14.2,17), (17.8,7,27.8,17), (50.6,7,52.6,9)])
R(aib_io_tx, EXTBlock, [(30.19,16.42,33.41,18.78), (27.39,45.97,52.61,46.83), (27.39,47.57,52.61,48.43)])
A(aib_io_tx, TopVia1, 6.6, 54.8, 0.42, 0.42, 35, 36, 1.2, 1.2)
R(aib_io_tx, TopMetal1, [(5.5,54,49.5,98)])
R(aib_io_tx, PolyRes, [(30.8,16.6,32.8,18.6), (28,46.15,52,46.65), (28,47.75,52,48.25)])
R(aib_io_tx, L189_0, [(0,0,55,100)])
aib_io_tx.add(gdstk.Label('VSS', (1,2.4), layer=30, texttype=1))
aib_io_tx.add(gdstk.Label('VDDIO', (1,52.8), layer=30, texttype=1))
aib_io_tx.add(gdstk.Label('OE', (1,49.6), layer=30, texttype=1))
aib_io_tx.add(gdstk.Label('PUN', (1,50.4), layer=30, texttype=1))
aib_io_tx.add(gdstk.Label('PD', (1,51.2), layer=30, texttype=1))
aib_io_tx.add(gdstk.Label('PAD', (27.5,76), layer=126, texttype=1))
aib_io_tx.add(gdstk.Label('sub!', (3.55,12), layer=63, texttype=0))
aib_io_tx.add(gdstk.Label('well', (17.15,12), layer=63, texttype=0))
aib_io_tx.add(gdstk.Label('sub!', (48.4,8), layer=63, texttype=0))
aib_io_tx.add(gdstk.Label('well', (49.95,8), layer=63, texttype=0))
aib_io_tx.add(gdstk.Label('sub!', (53.2,12.8), layer=63, texttype=0))
aib_io_tx.add(gdstk.Label('well', (22.8,22.4), layer=63, texttype=0))
aib_io_tx.add(gdstk.Label('sub!', (36.4,22.4), layer=63, texttype=0))
aib_io_tx.add(gdstk.Label('well', (8.4,29.6), layer=63, texttype=0))
aib_io_tx.add(gdstk.Label('well', (14,29.6), layer=63, texttype=0))
aib_io_tx.add(gdstk.Label('well', (19.6,29.6), layer=63, texttype=0))
aib_io_tx.add(gdstk.Label('well', (25.2,29.6), layer=63, texttype=0))
aib_io_tx.add(gdstk.Label('sub!', (8.4,38.4), layer=63, texttype=0))
aib_io_tx.add(gdstk.Label('sub!', (14,38.4), layer=63, texttype=0))
aib_io_tx.add(gdstk.Label('sub!', (19.6,37.6), layer=63, texttype=0))
aib_io_tx.add(gdstk.Label('sub!', (25.2,37.6), layer=63, texttype=0))
aib_io_tx.add(gdstk.Label('well', (6.8,45.6), layer=63, texttype=0))
aib_io_tx.add(gdstk.Label('sub!', (11.6,44.8), layer=63, texttype=0))
aib_io_tx.add(gdstk.Label('well', (16.4,45.6), layer=63, texttype=0))
aib_io_tx.add(gdstk.Label('sub!', (21.2,44.8), layer=63, texttype=0))
aib_io_tx.add(gdstk.Label('DIN', (3.6,0.5), layer=10, texttype=1))

aib_io_tx_clk = lib.new_cell('aib_io_tx_clk')
R(aib_io_tx_clk, L189_0, [(0,0,110,100)])
aib_io_tx_clk.add(gdstk.Reference(aib_io_tx, (55,0), rotation=pi, x_reflection=True))
aib_io_tx_clk.add(gdstk.Reference(aib_io_tx, (55,0)))

lib.write_gds('aib_io_tx_clk.gds')
